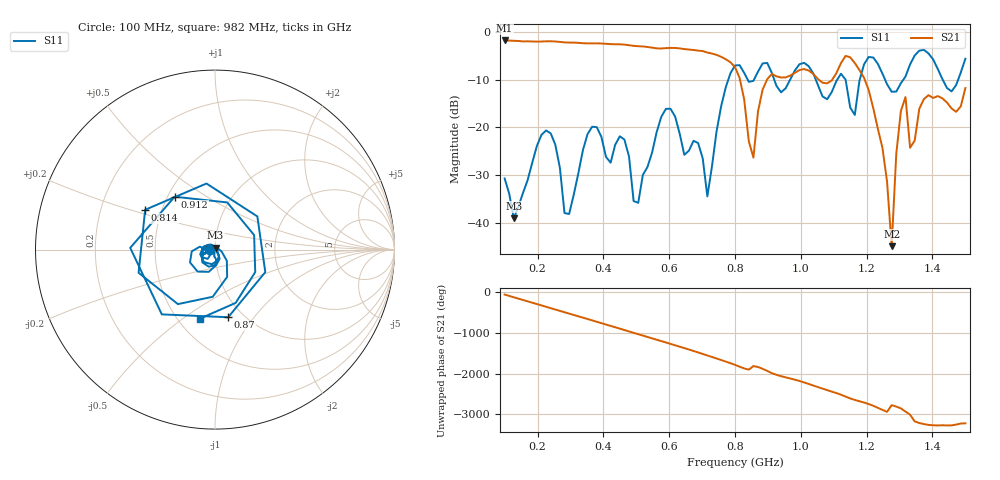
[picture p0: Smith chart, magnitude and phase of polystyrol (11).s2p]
! NanoVNA-App
! Date: 2025-09-25 15:29:59
! Start: 100MHz Stop: 1,5GHz Points: 101
! S-Parameter data: F S11 S21 S12 S22
# Hz S RI R 50
!  Frequency  S11_Real  S11_Imag  S21_Real  S21_Imag  S12_Real  S12_Imag  S22_Real  S22_Imag
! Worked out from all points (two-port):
!   101 points, 100 MHz to 1.5 GHz, reference 50 ohm
!   highest |S21| = -1.80 dB at 100 MHz (marker M1); lowest = -44.9 dB at 1.276 GHz (marker M2)
!   |S21| within 3 dB of the highest: start of sweep to 742.9 MHz
!   lowest |S11| = -39.1 dB at 128 MHz (marker M3), VSWR 1.02, Z = 50.3 + j1.07 ohm
!   |S11| at or under -10 dB: start of sweep to 779.7 MHz; 1.045 GHz to 1.111 GHz (65.45 MHz wide, 6.07 % of centre); 1.136 GHz to 1.179 GHz (43.16 MHz wide, 3.73 % of centre)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
!   S12 and S22 are empty: the file has one direction only
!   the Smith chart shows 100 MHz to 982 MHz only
!   S11 on the Smith chart (normalised r, x): 100 MHz: 0.94, -0.01; 814 MHz: 0.40, +0.22; 870 MHz: 0.85, -0.75; 912 MHz: 0.54, +0.37; 982 MHz: 0.64, -0.58
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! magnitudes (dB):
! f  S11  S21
! 100 MHz  -30.7  -1.8
! 128 MHz  -39.1  -1.9
! 212 MHz  -21.6  -2.0
! 282 MHz  -38.0  -2.2
! 338 MHz  -24.8  -2.4
! 464 MHz  -22.6  -2.7
! 506 MHz  -35.8  -3.0
! 576 MHz  -17.8  -3.5
! 716 MHz  -34.5  -4.3
! 800 MHz  -7.0  -7.4
! 814 MHz  -7.0  -9.6
! 856 MHz  -10.3  -26.4
! 870 MHz  -8.3  -16.6
! 912 MHz  -8.6  -8.8
! 982 MHz  -8.1  -8.6
! 1.038 GHz  -8.7  -8.8
! 1.164 GHz  -17.4  -6.5
! 1.192 GHz  -6.8  -9.6
! 1.276 GHz  -12.5  -44.9
! 1.318 GHz  -9.4  -13.7
! 1.332 GHz  -6.8  -24.3
! 1.5 GHz  -5.6  -11.8
